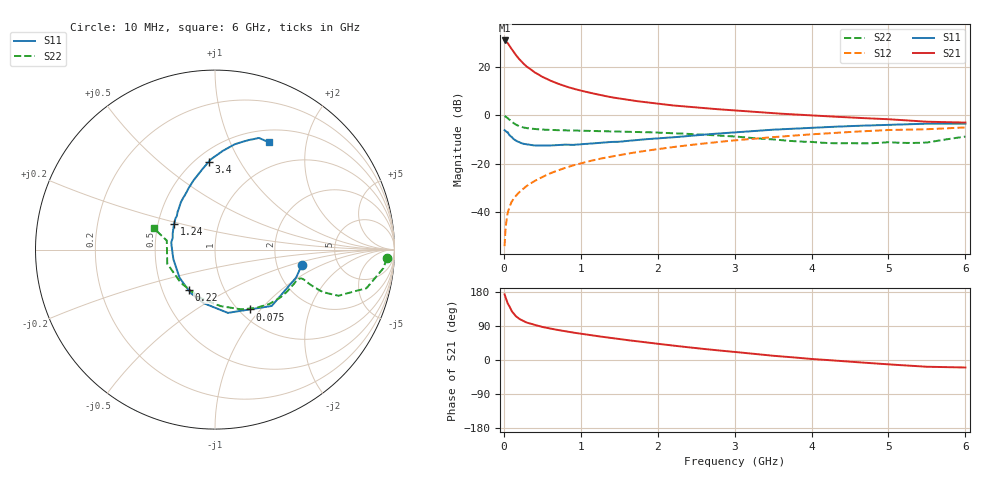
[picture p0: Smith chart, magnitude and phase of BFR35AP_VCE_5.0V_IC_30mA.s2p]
! Infineon Technologies  Discrete & RF Semiconductors
! BFR35AP
! VCE =  5.0 V,  IC =  30 mA
! Common Emitter S-Parameters:  Nov 2015
# GHz  S  MA  R  50
!  f  S11  S21  S12  S22
! GHz  MAG  ANG  MAG  ANG  MAG  ANG  MAG  ANG
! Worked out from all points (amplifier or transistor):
!   210 points, 10 MHz to 6 GHz, reference 50 ohm
!   highest |S21| = 30.8 dB at 10 MHz (marker M1)
!   |S21| within 3 dB of that: start of sweep to 89.87 MHz
!   unconditionally stable (mu >= 1): 291.9 MHz to 2.848 GHz
!   at 185 MHz: K = 0.85, MSG = 28.0 dB, |S12| = -32.3 dB
!   at 1.52 GHz: K = 1.13, MAG = 9.4 dB, |S12| = -16.3 dB
!   at 6 GHz: K = 0.95, MSG = 1.0 dB, |S12| = -5.1 dB
!   S11 on the Smith chart (normalised r, x): 10 MHz: 2.78, -0.61; 75 MHz: 1.12, -0.88; 220 MHz: 0.68, -0.33; 1.24 GHz: 0.61, +0.18; 3.4 GHz: 0.58, +0.74; 6 GHz: 0.65, +1.41
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0.01  0.4914 -9.8  34.62 173.2  0.002 88.8  0.959 -2.9
0.02  0.4785 -18.9  33.93 166.5  0.004 84.5  0.943 -6.4
0.05  0.4454 -44.8  30.59 149.3  0.0097 74.0  0.8709 -14.3
0.075  0.3855 -59.8  26.55 140.6  0.013 69.5  0.8013 -17.1
0.1  0.3598 -78.5  23.32 129.2  0.0163 66.8  0.734 -20.5
0.15  0.3048 -102.2  17.82 116.3  0.0211 67.0  0.6437 -21.5
0.2  0.2786 -118.0  14.29 108.6  0.0257 68.5  0.5932 -20.8
0.22  0.2689 -123.2  13.25 106.5  0.0275 68.7  0.5799 -20.5
0.26  0.2567 -133.5  11.37 102.1  0.0312 69.3  0.5561 -19.9
0.3  0.2518 -141.8  9.944 98.6  0.035 70.2  0.5405 -19.3
0.4  0.238 -156.3  7.636 92.5  0.044 72.0  0.5183 -18.5
0.5  0.238 -167.1  6.168 87.2  0.053 72.5  0.5045 -18.5
0.7  0.2422 176.6  4.476 79.2  0.0725 73.1  0.4912 -19.8
1.02  0.2538 157.8  3.152 68.8  0.1034 71.5  0.4792 -23.5
1.24  0.2681 148.2  2.634 62.4  0.1254 69.9  0.4703 -26.9
1.6  0.2955 135.0  2.077 52.6  0.1605 66.7  0.4571 -33.2
2.02  0.3348 122.8  1.714 42.4  0.2016 62.7  0.4366 -41.3
3.1  0.453 99.0  1.216 19.2  0.3125 50.3  0.3523 -69.3
3.4  0.4895 94.2  1.124 13.3  0.3425 46.4  0.3234 -80.2
4.1  0.5597 84.3  0.97 1.4  0.4126 37.1  0.2731 -113.4
5.1  0.6386 72.9  0.806 -12.8  0.4973 21.9  0.2718 -168.8
6  0.6692 63.2  0.704 -19.8  0.5585 10.6  0.3626 160.7
